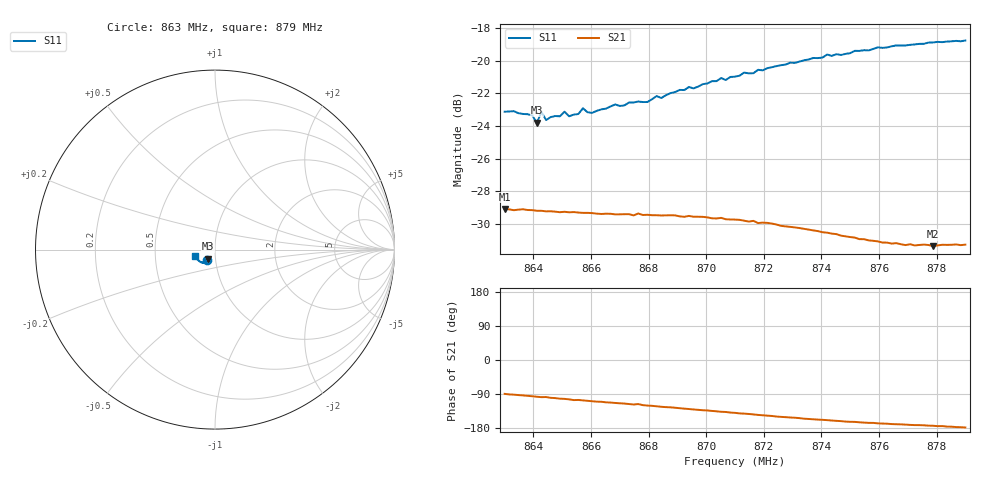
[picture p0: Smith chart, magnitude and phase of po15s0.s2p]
# HZ S RI R 50
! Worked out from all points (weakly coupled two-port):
!   101 points, 863 MHz to 879 MHz, reference 50 ohm
!   highest |S21| = -29.10 dB at 863 MHz (marker M1); lowest = -31.4 dB at 877.88 MHz (marker M2)
!   lowest |S11| = -23.8 dB at 864.12 MHz (marker M3), VSWR 1.14, Z = 45.9 - j4.64 ohm
!   |S11| at or under -10 dB: start of sweep to end of sweep
!   S12 and S22 are empty: the file has one direction only
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8.63e8  -0.0418 -0.0559  0.000407 -0.0351  0 0  0 0
8.6396e8  -0.0382 -0.0562  -0.00342 -0.0346  0 0  0 0
8.6412e8  -0.0404 -0.0503  -0.0042 -0.0344  0 0  0 0
8.6428e8  -0.0386 -0.0579  -0.00485 -0.0343  0 0  0 0
8.6444e8  -0.0364 -0.0548  -0.00464 -0.0342  0 0  0 0
8.6492e8  -0.0377 -0.056  -0.00717 -0.0335  0 0  0 0
8.6508e8  -0.0377 -0.0587  -0.00748 -0.0336  0 0  0 0
8.6524e8  -0.0371 -0.0565  -0.00822 -0.0333  0 0  0 0
8.6556e8  -0.0359 -0.0585  -0.0091 -0.033  0 0  0 0
8.6572e8  -0.0379 -0.0606  -0.00973 -0.0327  0 0  0 0
8.6604e8  -0.0347 -0.0599  -0.011 -0.0323  0 0  0 0
8.6684e8  -0.0369 -0.0635  -0.0134 -0.031  0 0  0 0
8.6796e8  -0.0357 -0.0656  -0.017 -0.0291  0 0  0 0
8.6828e8  -0.0383 -0.0678  -0.0179 -0.0284  0 0  0 0
8.6844e8  -0.038 -0.0668  -0.0185 -0.028  0 0  0 0
8.694e8  -0.0425 -0.0714  -0.0212 -0.0258  0 0  0 0
8.6956e8  -0.0421 -0.0707  -0.0216 -0.0252  0 0  0 0
8.71e8  -0.0502 -0.0739  -0.0247 -0.0212  0 0  0 0
8.7372e8  -0.0701 -0.074  -0.0277 -0.012  0 0  0 0
8.7644e8  -0.0935 -0.0594  -0.027 -0.00521  0 0  0 0
8.7788e8  -0.1036 -0.0471  -0.0268 -0.00305  0 0  0 0
8.79e8  -0.1092 -0.0374  -0.0273 -0.000949  0 0  0 0
